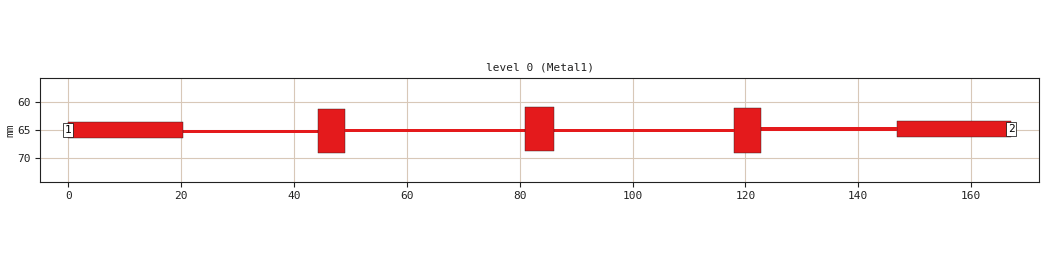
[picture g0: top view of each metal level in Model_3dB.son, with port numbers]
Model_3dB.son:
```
FTYP SONPROJ 19 ! Sonnet Project File
VER 18.53
HEADER
LIC SL65a9b7de
DAT 04/19/2024 09:20:26
BUILT_BY_CREATED xgeom 18.53-Lite 04/19/2024 09:05:34
BUILT_BY_SAVED sonnet 18.53-Lite
MDATE 04/19/2024 09:20:26
HDATE 04/19/2024 09:20:26
END HEADER
DIM
ANG DEG
CAP PF
CON /OH
FREQ GHZ
IND NH
LNG MM
RES OH
END DIM
CONTROL
VARSWP
OPTIONS  -d
SPEED 0
CACHE_ABS 2
Q_ACC N
END CONTROL
GEO
TMET "Lossless" 0 SUP 0 0 0 0
BMET "Lossless" 0 SUP 0 0 0 0
BOX 1 167.1 130 3342 2600 20 0
      1.524 1 1 0 0 0 0 "Air"
      0.035 1 1 0 0 0 0 "FR-4"
TECHLAY METAL Metal1 <UNSPECIFIED> -2 -65534 
0 0 -1 N 49 1 1 100 100 0 0 0 Y
END
END
LORGN 0 6.35 U 
POR1 BOX
POLY 24 1
3
1 50 0 0 0 -0.0005138915977 65.00137962 
POR1 BOX
POLY 26 1
1
2 50 0 0 0 167.1005139 64.80072566 
NUM 9
0 5 -1 N 23 1 1 100 100 0 0 0 Y
TLAYNAM Metal1 INH
20.29636862 64.95120575
44.29636862 64.95120575
44.29636862 65.55120575
20.29636862 65.55120575
20.29636862 64.95120575
END
0 5 -1 N 24 1 1 100 100 0 0 0 Y
TLAYNAM Metal1 INH
-0.0005138915977 63.60137962
20.29531947 63.60137962
20.29531947 66.40137962
-0.0005138915977 66.40137962
-0.0005138915977 63.60137962
END
0 5 -1 N 26 1 1 100 100 0 0 0 Y
TLAYNAM Metal1 INH
146.8046805 63.40072566
167.1005139 63.40072566
167.1005139 66.20072566
146.8046805 66.20072566
146.8046805 63.40072566
END
0 5 -1 N 35 1 1 100 100 0 0 0 Y
TLAYNAM Metal1 INH
122.7971707 64.53609847
146.7971707 64.53609847
146.7971707 65.13609847
122.7971707 65.13609847
122.7971707 64.53609847
END
0 5 -1 N 36 1 1 100 100 0 0 0 Y
TLAYNAM Metal1 INH
44.28701232 61.23609847
49.08701232 61.23609847
49.08701232 69.13609847
44.28701232 69.13609847
44.28701232 61.23609847
END
0 5 -1 N 37 1 1 100 100 0 0 0 Y
TLAYNAM Metal1 INH
117.9840215 61.12219693
122.7840215 61.12219693
122.7840215 69.02219693
117.9840215 69.02219693
117.9840215 61.12219693
END
0 5 -1 N 38 1 1 100 100 0 0 0 Y
TLAYNAM Metal1 INH
49.08701232 64.83609847
80.98701232 64.83609847
80.98701232 65.43609847
49.08701232 65.43609847
49.08701232 64.83609847
END
0 5 -1 N 39 1 1 100 100 0 0 0 Y
TLAYNAM Metal1 INH
86.09792301 64.82219693
117.997923 64.82219693
117.997923 65.42219693
86.09792301 65.42219693
86.09792301 64.82219693
END
0 5 -1 N 40 1 1 100 100 0 0 0 Y
TLAYNAM Metal1 INH
80.96743068 60.86390153
86.06743068 60.86390153
86.06743068 68.76390153
80.96743068 68.76390153
80.96743068 60.86390153
END
END GEO
OPT
MAX 100
END OPT
VARSWP
ENABLED Y
FREQ Y AY ABS_ENTRY UNK 
END
END VARSWP
```
